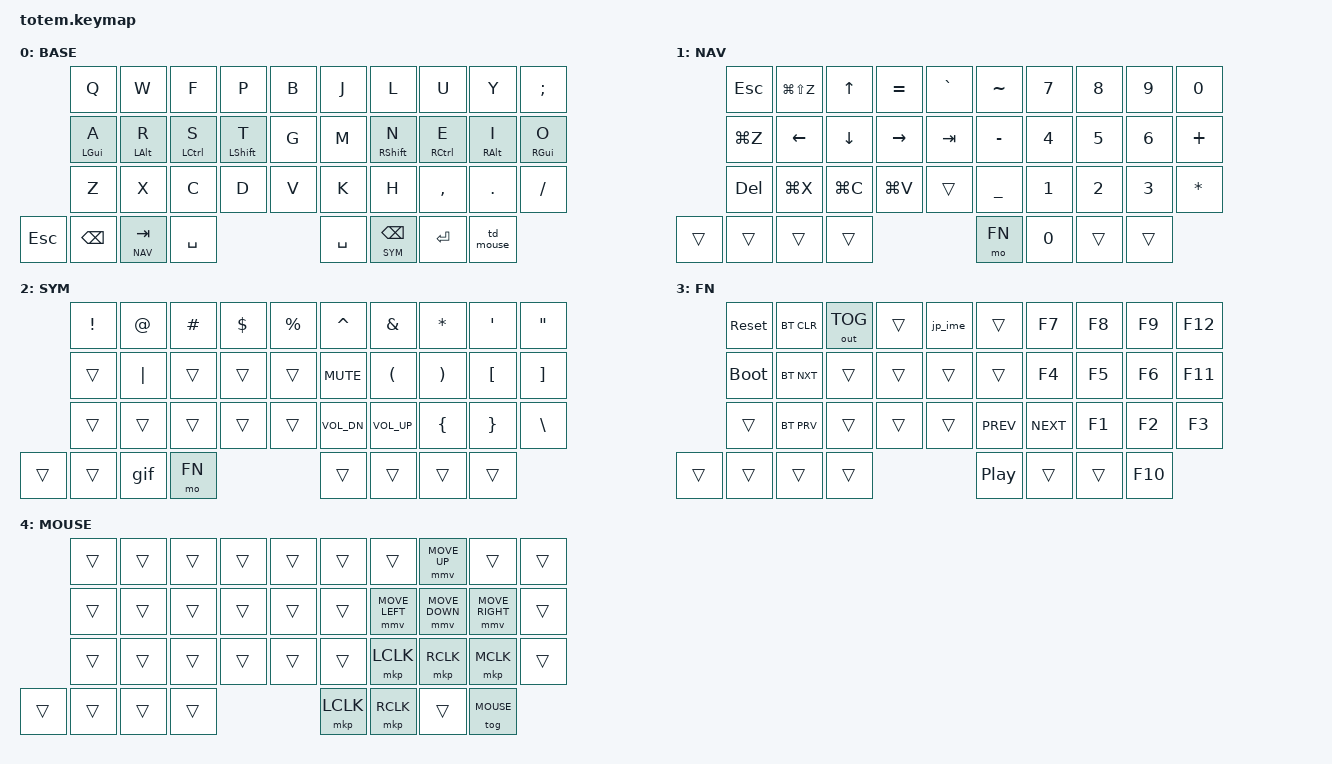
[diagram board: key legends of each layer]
//
//                                                        ▀▀▀▀▀     ▀▀▀▀▀          ▀▀█▀▀
//                                                        ▄▀▀▀▄  ▄  ▄▀▀▀▄  ▄  ▄▀▀▀▄  █  ▄▀▀▀▄
//                                                        █   █  █  █   █  █  █   █  █  █   █
//                                                         ▀▀▀   █   ▀▀▀   █   ▀▀▀   ▀   ▀▀▀
//                                                               █      ▄▄▄█▄▄▄    █   █
//                                                               ▀      █  █  █     █▄█
//                                                             ▀▀▀▀▀    █  █  █      ▀
//                                                                      ▀  ▀  ▀
//
// ▄▄▄▄▄▄▄▄▄▄▄▄▄▄▄▄▄▄▄▄▄▄▄▄▄▄▄▄▄▄▄▄▄▄▄▄▄▄▄▄▄▄▄▄▄▄▄▄▄▄▄▄▄▄▄▄▄▄▄▄▄▄▄▄▄▄▄▄▄▄▄▄▄▄▄▄▄▄▄▄▄▄▄▄▄▄▄▄▄▄▄▄▄▄▄▄▄▄▄▄▄▄▄▄▄▄▄▄▄▄▄▄▄▄▄▄▄▄▄▄▄▄▄▄▄▄▄▄▄▄▄▄▄▄▄▄▄▄▄▄▄▄▄▄▄▄▄▄▄
//
// Matrix position map (from totem.dtsi):
//
//   pos 0-9:   top alpha     (5 left + 5 right)
//   pos 10-19: home row      (5 left + 5 right)
//   pos 20-29: bottom alpha  (5 left + 5 right)
//   pos 30-37: pinky + thumb (pinky_L, 3 thumb_L, 3 thumb_R, pinky_R)
//


#include <behaviors.dtsi>
#include <dt-bindings/zmk/bt.h>
#include <dt-bindings/zmk/keys.h>
#include <dt-bindings/zmk/outputs.h>
#define ZMK_POINTING_DEFAULT_MOVE_VAL 1200
#include <dt-bindings/zmk/pointing.h>

#define BASE  0
#define NAV   1
#define SYM   2
#define FN    3
#define MOUSE 4

&mt {
    quick-tap-ms = <100>;
    require-prior-idle-ms = <150>;
    flavor = "tap-preferred";
    tapping-term-ms = <170>;
};

&mmv {
    time-to-max-speed-ms = <300>;
    acceleration-exponent = <1>;
};

/ {
    combos {
        compatible = "zmk,combos";

        combo_esc {
            timeout-ms = <50>;
            key-positions = <0 1>;
            bindings = <&kp ESC>;
        };

    };

    behaviors {
        td_mouse: td_mouse {
            compatible = "zmk,behavior-tap-dance";
            #binding-cells = <0>;
            tapping-term-ms = <200>;
            bindings = <&kp BSLH>, <&tog MOUSE>;
        };
    };

    macros {
        gif: gif {
            label = "giphy";
            compatible = "zmk,behavior-macro";
            #binding-cells = <0>;
            bindings =
                <&macro_press>,
                <&kp LSHFT>,
                <&macro_tap>,
                <&kp N2>,
                <&macro_release>,
                <&kp LSHFT>,
                <&macro_tap>,
                <&kp G &kp I &kp F>;
        };

        jp_ime: jp_ime {
            label = "jp_ime";
            compatible = "zmk,behavior-macro";
            #binding-cells = <0>;
            bindings =
                <&macro_press>,
                <&kp LCTRL>,
                <&macro_tap>,
                <&kp SPACE>,
                <&macro_release>,
                <&kp LCTRL>;
        };
    };

        keymap {
                compatible = "zmk,keymap";
// ▄▄▄▄▄▄▄▄▄▄▄▄▄▄▄▄▄▄▄▄▄▄▄▄▄▄▄▄▄▄▄▄▄▄▄▄▄▄▄▄▄▄▄▄▄▄▄▄▄▄▄▄▄▄▄▄▄▄▄▄▄▄▄▄▄▄▄▄▄▄▄▄▄▄▄▄▄▄▄▄▄▄▄▄▄▄▄▄▄▄▄▄▄▄▄▄▄▄▄▄▄▄▄▄▄▄▄▄▄▄▄▄▄▄▄▄▄▄▄▄▄▄▄▄▄▄▄▄▄▄▄▄▄▄▄▄▄▄▄▄▄▄▄▄▄▄▄▄▄

                base_layer {
// ┏━━━━━━━━━━━━━━━━━━━━━━━━━━━━━━━━━━━━━━━┓
label= "BASE"                              ;
// ┗━━━━━━━━━━━━━━━━━━━━━━━━━━━━━━━━━━━━━━━┛
 bindings = <
                &kp Q       &kp W       &kp F       &kp P       &kp B           &kp J       &kp L       &kp U       &kp Y       &kp SEMI
                &mt LGUI A  &mt LALT R  &mt LCTRL S &mt LSHFT T &kp G           &kp M       &mt RSHFT N &mt RCTRL E &mt RALT I  &mt RGUI O
                &kp Z       &kp X       &kp C       &kp D       &kp V           &kp K       &kp H       &kp COMMA   &kp DOT     &kp FSLH
    &kp ESC     &kp BSPC    &lt NAV TAB &kp SPACE                               &kp SPACE   &lt SYM BSPC &kp RET    &td_mouse
                        >;
                };

// ▄▄▄▄▄▄▄▄▄▄▄▄▄▄▄▄▄▄▄▄▄▄▄▄▄▄▄▄▄▄▄▄▄▄▄▄▄▄▄▄▄▄▄▄▄▄▄▄▄▄▄▄▄▄▄▄▄▄▄▄▄▄▄▄▄▄▄▄▄▄▄▄▄▄▄▄▄▄▄▄▄▄▄▄▄▄▄▄▄▄▄▄▄▄▄▄▄▄▄▄▄▄▄▄▄▄▄▄▄▄▄▄▄▄▄▄▄▄▄▄▄▄▄▄▄▄▄▄▄▄▄▄▄▄▄▄▄▄▄▄▄▄▄▄▄▄▄▄▄

                nav_layer {
label= "NAV"                               ;
 bindings = <
                &kp ESC     &kp LG(LS(Z)) &kp UP    &kp EQUAL   &kp GRAVE       &kp TILDE   &kp N7      &kp N8      &kp N9      &kp N0
                &kp LG(Z)   &kp LEFT    &kp DOWN    &kp RIGHT   &kp TAB         &kp MINUS   &kp N4      &kp N5      &kp N6      &kp PLUS
                &kp DEL     &kp LG(X)   &kp LG(C)   &kp LG(V)   &trans          &kp UNDER   &kp N1      &kp N2      &kp N3      &kp STAR
    &trans      &trans      &trans      &trans                                    &mo FN      &kp N0      &trans      &trans
                        >;
                };

// ▄▄▄▄▄▄▄▄▄▄▄▄▄▄▄▄▄▄▄▄▄▄▄▄▄▄▄▄▄▄▄▄▄▄▄▄▄▄▄▄▄▄▄▄▄▄▄▄▄▄▄▄▄▄▄▄▄▄▄▄▄▄▄▄▄▄▄▄▄▄▄▄▄▄▄▄▄▄▄▄▄▄▄▄▄▄▄▄▄▄▄▄▄▄▄▄▄▄▄▄▄▄▄▄▄▄▄▄▄▄▄▄▄▄▄▄▄▄▄▄▄▄▄▄▄▄▄▄▄▄▄▄▄▄▄▄▄▄▄▄▄▄▄▄▄▄▄▄▄

                sym_layer {
label= "SYM"                               ;
 bindings = <
                &kp EXCL    &kp AT      &kp HASH    &kp DLLR    &kp PRCNT       &kp CARET   &kp AMPS    &kp STAR    &kp SQT     &kp DQT
                &trans      &kp PIPE    &trans      &trans      &trans          &kp C_MUTE  &kp LPAR    &kp RPAR    &kp LBKT    &kp RBKT
                &trans      &trans      &trans      &trans      &trans          &kp C_VOL_DN &kp C_VOL_UP &kp LBRC   &kp RBRC    &kp BSLH
    &trans      &trans      &gif        &mo FN                                  &trans      &trans      &trans      &trans
                        >;
                };

// ▄▄▄▄▄▄▄▄▄▄▄▄▄▄▄▄▄▄▄▄▄▄▄▄▄▄▄▄▄▄▄▄▄▄▄▄▄▄▄▄▄▄▄▄▄▄▄▄▄▄▄▄▄▄▄▄▄▄▄▄▄▄▄▄▄▄▄▄▄▄▄▄▄▄▄▄▄▄▄▄▄▄▄▄▄▄▄▄▄▄▄▄▄▄▄▄▄▄▄▄▄▄▄▄▄▄▄▄▄▄▄▄▄▄▄▄▄▄▄▄▄▄▄▄▄▄▄▄▄▄▄▄▄▄▄▄▄▄▄▄▄▄▄▄▄▄▄▄▄

                fn_layer {
label= "FN"                                ;
 bindings = <
                &sys_reset  &bt BT_CLR  &out OUT_TOG &trans     &jp_ime         &trans      &kp F7      &kp F8      &kp F9      &kp F12
                &bootloader &bt BT_NXT  &trans      &trans      &trans          &trans      &kp F4      &kp F5      &kp F6      &kp F11
                &trans      &bt BT_PRV  &trans      &trans      &trans          &kp C_PREV  &kp C_NEXT  &kp F1      &kp F2      &kp F3
    &trans      &trans      &trans      &trans                                  &kp C_PP    &trans      &trans      &kp F10
                        >;
                };

// ▄▄▄▄▄▄▄▄▄▄▄▄▄▄▄▄▄▄▄▄▄▄▄▄▄▄▄▄▄▄▄▄▄▄▄▄▄▄▄▄▄▄▄▄▄▄▄▄▄▄▄▄▄▄▄▄▄▄▄▄▄▄▄▄▄▄▄▄▄▄▄▄▄▄▄▄▄▄▄▄▄▄▄▄▄▄▄▄▄▄▄▄▄▄▄▄▄▄▄▄▄▄▄▄▄▄▄▄▄▄▄▄▄▄▄▄▄▄▄▄▄▄▄▄▄▄▄▄▄▄▄▄▄▄▄▄▄▄▄▄▄▄▄▄▄▄▄▄▄

                mouse_layer {
label= "MOUSE"                             ;
 bindings = <
                &trans      &trans      &trans      &trans      &trans          &trans      &trans      &mmv MOVE_UP &trans     &trans
                &trans      &trans      &trans      &trans      &trans          &trans      &mmv MOVE_LEFT &mmv MOVE_DOWN &mmv MOVE_RIGHT &trans
                &trans      &trans      &trans      &trans      &trans          &trans      &mkp LCLK   &mkp RCLK   &mkp MCLK   &trans
    &trans      &trans      &trans      &trans                                  &mkp LCLK   &mkp RCLK   &trans      &tog MOUSE
                        >;
                };
        };
};
